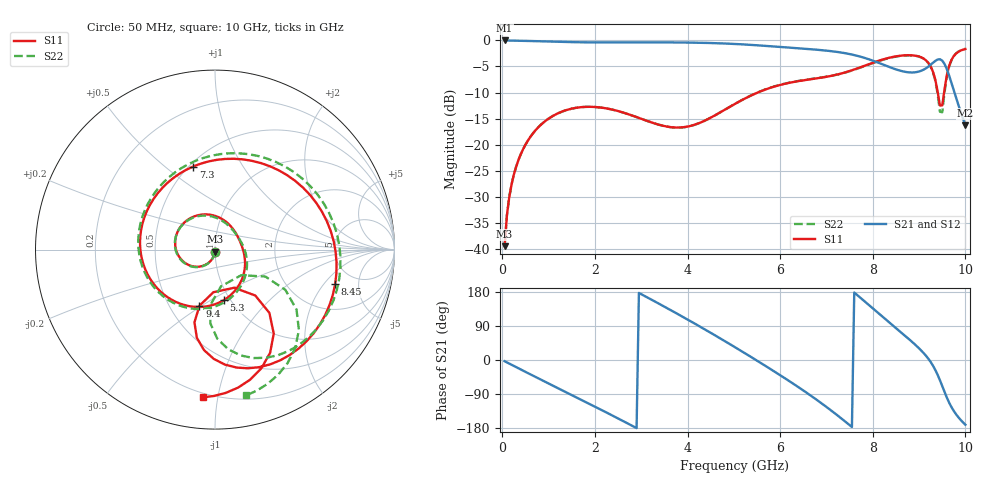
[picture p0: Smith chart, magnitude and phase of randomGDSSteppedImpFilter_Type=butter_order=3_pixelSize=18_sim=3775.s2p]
! freq	dB(S11)	phase(S11)	dB(S12)	phase(S12)
!  dB(S21)	phase(S21)	dB(S22)	phase(S22)
!S-par simulation data
#  GHz  S  DB  R 50
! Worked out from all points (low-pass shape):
!   200 points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, 50 MHz to 10 GHz, reference 50 ohm
!   highest |S21| = -0.01 dB at 50 MHz (marker M1); lowest = -16.3 dB at 10 GHz (marker M2)
!   |S21| within 3 dB of the highest: start of sweep to 7.688 GHz
!   lowest |S11| = -39.5 dB at 50 MHz (marker M3), VSWR 1.02, Z = 49.9 - j1.06 ohm
!   |S11| at or under -10 dB: start of sweep to 5.516 GHz; 9.404 GHz to 9.54 GHz (135.7 MHz wide, 1.43 % of centre)
!   |S22| runs from -39.5 to -1.6 dB; largest |S21 - S12| = 0
!   S11 on the Smith chart (normalised r, x): 50 MHz: 1.00, -0.02; 5.3 GHz: 0.93, -0.57; 7.3 GHz: 0.52, +0.63; 8.45 GHz: 3.51, -2.64; 9.4 GHz: 0.70, -0.49; 10 GHz: 0.17, -0.90
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0.05  -39.49 -92.2  -0.01 -3.2  -0.01 -3.2  -39.49 -92.1
0.2  -27.64 -102.6  -0.03 -12.6  -0.03 -12.6  -27.64 -102.3
0.5  -20.02 -122.1  -0.09 -31.3  -0.09 -31.3  -20.02 -121.3
1.15  -14.21 -162.9  -0.26 -71.2  -0.26 -71.2  -14.21 -160.9
1.75  -12.77 159.9  -0.36 -107.8  -0.36 -107.8  -12.78 163.2
2.65  -13.95 102.5  -0.38 -163.7  -0.38 -163.7  -13.96 109.1
3.4  -16.22 52.2  -0.37 147.4  -0.37 147.4  -16.23 62.2
4.25  -15.87 -5.5  -0.45 89.5  -0.45 89.5  -15.88 4.0
5.05  -12.05 -61.7  -0.69 31.9  -0.69 31.9  -12.04 -55.1
5.3  -10.88 -80.1  -0.82 13.4  -0.82 13.4  -10.87 -73.8
5.9  -8.78 -126.6  -1.18 -32.3  -1.18 -32.3  -8.76 -119.4
6.7  -7.40 164.4  -1.71 -97.3  -1.71 -97.3  -7.37 176.6
7.3  -6.40 104.8  -2.30 -152.1  -2.30 -152.1  -6.41 122.4
7.85  -4.77 45.9  -3.42 152.1  -3.42 152.1  -4.84 65.9
8.35  -3.34 -6.2  -5.08 99.6  -5.08 99.6  -3.39 12.5
8.45  -3.14 -16.1  -5.41 89.3  -5.41 89.3  -3.19 2.2
9.05  -3.27 -74.4  -5.81 24.6  -5.81 24.6  -3.28 -59.1
9.25  -4.99 -96.2  -4.67 -5.3  -4.67 -5.3  -5.04 -82.5
9.4  -9.78 -105.5  -3.67 -38.9  -3.67 -38.9  -10.26 -94.6
9.5  -12.47 -63.2  -3.87 -68.9  -3.87 -68.9  -13.80 -44.3
9.65  -4.86 -55.0  -6.77 -112.8  -6.77 -112.8  -4.98 -36.3
10  -1.65 -94.8  -16.29 -170.8  -16.29 -170.8  -1.61 -77.9
